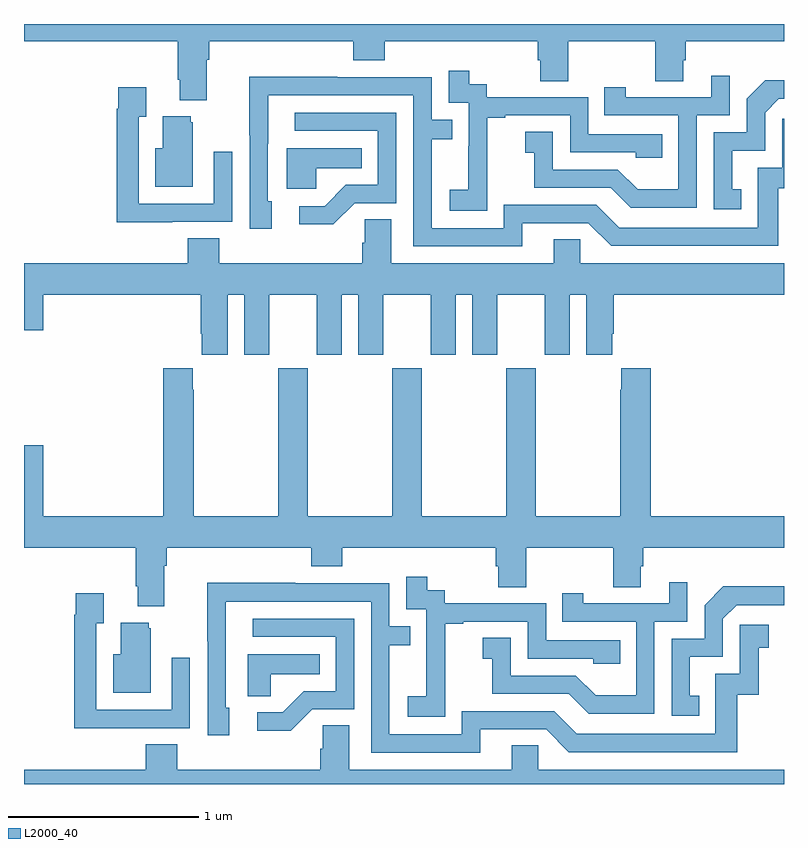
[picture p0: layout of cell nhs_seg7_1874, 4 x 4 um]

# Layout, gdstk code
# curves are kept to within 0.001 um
import gdstk
lib = gdstk.Library(unit=1e-6, precision=1e-09)
def P(c, l, *ps):  # polygons
    for p in ps: c.add(gdstk.Polygon(p, *l))
L2000_40 = (2000, 40)

nhs_seg7_1874 = lib.new_cell('nhs_seg7_1874')
P(nhs_seg7_1874, L2000_40, [(237.961,1041.812),(237.974,1041.812),(237.974,1041.908),(238.733,1041.908),(238.733,1041.809),(238.898,1041.809),(238.898,1041.908),(239.705,1041.908),(239.705,1041.81),(239.717,1041.81),(239.717,1041.7),(239.865,1041.7),(239.865,1041.908),(240.322,1041.908),(240.322,1041.7),(240.469,1041.7),(240.469,1041.81),(240.482,1041.81),(240.482,1041.908),(241,1041.908),(241,1042),(237,1042),(237,1041.908),(237.809,1041.908),(237.809,1041.706),(237.821,1041.706),(237.821,1041.599),(237.961,1041.599)],
  [(239.439,1041.223),(239.438,1041.223),(239.438,1041.507),(239.533,1041.507),(239.533,1041.519),(239.874,1041.519),(239.874,1041.324),(240.219,1041.324),(240.219,1041.297),(240.359,1041.297),(240.359,1041.42),(239.97,1041.42),(239.97,1041.615),(239.436,1041.615),(239.436,1041.684),(239.344,1041.684),(239.344,1041.754),(239.235,1041.754),(239.235,1041.585),(239.34,1041.585),(239.34,1041.356),(239.339,1041.356),(239.339,1041.127),(239.241,1041.127),(239.241,1041.017),(239.439,1041.017)],
  [(240.54,1041.519),(240.714,1041.519),(240.714,1041.727),(240.617,1041.727),(240.617,1041.615),(240.166,1041.615),(240.166,1041.667),(240.055,1041.667),(240.055,1041.519),(240.444,1041.519),(240.444,1041.13),(240.23,1041.13),(240.126,1041.234),(239.784,1041.234),(239.784,1041.433),(239.637,1041.433),(239.637,1041.323),(239.686,1041.323),(239.686,1041.138),(240.089,1041.138),(240.194,1041.033),(240.54,1041.033)],
  [(239.623,1040.952),(239.97,1040.952),(240.09,1040.832),(240.97,1040.832),(240.97,1041.135),(241,1041.135),(241,1041.502),(240.99,1041.502),(240.99,1041.243),(240.861,1041.243),(240.861,1040.928),(240.132,1040.928),(240.012,1041.048),(239.526,1041.048),(239.526,1040.925),(239.145,1040.925),(239.145,1041.394),(239.255,1041.394),(239.255,1041.495),(239.145,1041.495),(239.145,1041.72),(238.649,1041.72),(238.649,1041.722),(238.186,1041.722),(238.186,1041.415),(238.188,1041.415),(238.188,1040.922),(238.303,1040.922),(238.303,1041.066),(238.284,1041.066),(238.285,1041.624),(239.049,1041.624),(239.049,1040.829),(239.623,1040.829)],
  [(240.776,1041.129),(240.727,1041.129),(240.727,1041.333),(240.9,1041.333),(240.9,1041.534),(240.972,1041.606),(241,1041.606),(241,1041.704),(240.902,1041.704),(240.804,1041.606),(240.804,1041.429),(240.63,1041.429),(240.63,1041.024),(240.776,1041.024)],
  [(237.779,1040.958),(238.095,1040.958),(238.095,1041.328),(237.999,1041.328),(237.999,1041.054),(237.603,1041.054),(237.603,1041.511),(237.643,1041.511),(237.643,1041.667),(237.495,1041.667),(237.495,1041.554),(237.487,1041.554),(237.487,1040.957),(237.779,1040.957)],
  [(238.74,1041.057),(238.959,1041.057),(238.959,1041.534),(238.425,1041.534),(238.425,1041.438),(238.863,1041.438),(238.863,1041.153),(238.694,1041.153),(238.583,1041.042),(238.449,1041.042),(238.449,1040.945),(238.627,1040.945)],
  [(237.889,1041.483),(237.878,1041.483),(237.878,1041.514),(237.731,1041.514),(237.731,1041.346),(237.692,1041.346),(237.692,1041.143),(237.889,1041.143)],
  [(238.539,1041.242),(238.778,1041.242),(238.778,1041.346),(238.382,1041.346),(238.382,1041.134),(238.539,1041.134)],
  [(238.072,1040.576),(238.16,1040.576),(238.16,1040.259),(238.291,1040.259),(238.291,1040.576),(238.541,1040.576),(238.541,1040.259),(238.672,1040.259),(238.672,1040.576),(238.76,1040.576),(238.76,1040.259),(238.891,1040.259),(238.891,1040.576),(239.141,1040.576),(239.141,1040.259),(239.272,1040.259),(239.272,1040.576),(239.36,1040.576),(239.36,1040.259),(239.491,1040.259),(239.491,1040.576),(239.741,1040.576),(239.741,1040.259),(239.872,1040.259),(239.872,1040.576),(239.96,1040.576),(239.96,1040.259),(240.097,1040.259),(240.097,1040.371),(240.104,1040.371),(240.104,1040.576),(241,1040.576),(241,1040.74),(239.928,1040.74),(239.928,1040.867),(239.789,1040.867),(239.789,1040.74),(238.933,1040.74),(238.933,1040.972),(238.794,1040.972),(238.794,1040.849),(238.781,1040.849),(238.781,1040.74),(238.028,1040.74),(238.028,1040.873),(237.863,1040.873),(237.863,1040.74),(237,1040.74),(237,1040.388),(237.1,1040.388),(237.1,1040.576),(237.929,1040.576),(237.929,1040.371),(237.935,1040.371),(237.935,1040.259),(238.072,1040.259)],
  [(239.094,1040.188),(238.939,1040.188),(238.939,1039.408),(238.494,1039.408),(238.494,1040.188),(238.339,1040.188),(238.339,1039.408),(237.894,1039.408),(237.894,1040.075),(237.889,1040.075),(237.889,1040.188),(237.734,1040.188),(237.734,1039.408),(237.1,1039.408),(237.1,1039.783),(237,1039.783),(237,1039.244),(237.587,1039.244),(237.587,1039.042),(237.599,1039.042),(237.599,1038.935),(237.739,1038.935),(237.739,1039.148),(237.752,1039.148),(237.752,1039.244),(238.511,1039.244),(238.511,1039.145),(238.676,1039.145),(238.676,1039.244),(239.483,1039.244),(239.483,1039.146),(239.495,1039.146),(239.495,1039.036),(239.643,1039.036),(239.643,1039.244),(240.1,1039.244),(240.1,1039.036),(240.247,1039.036),(240.247,1039.146),(240.26,1039.146),(240.26,1039.244),(241,1039.244),(241,1039.408),(240.299,1039.408),(240.299,1040.188),(240.143,1040.188),(240.143,1040.075),(240.139,1040.075),(240.139,1039.408),(239.694,1039.408),(239.694,1040.188),(239.539,1040.188),(239.539,1039.408),(239.094,1039.408)],
  [(239.217,1038.559),(239.216,1038.559),(239.216,1038.843),(239.311,1038.843),(239.311,1038.855),(239.652,1038.855),(239.652,1038.66),(239.997,1038.66),(239.997,1038.633),(240.137,1038.633),(240.137,1038.756),(239.748,1038.756),(239.748,1038.951),(239.214,1038.951),(239.214,1039.02),(239.122,1039.02),(239.122,1039.09),(239.013,1039.09),(239.013,1038.921),(239.118,1038.921),(239.118,1038.692),(239.117,1038.692),(239.117,1038.463),(239.019,1038.463),(239.019,1038.353),(239.217,1038.353)],
  [(240.318,1038.855),(240.492,1038.855),(240.492,1039.063),(240.395,1039.063),(240.395,1038.951),(239.944,1038.951),(239.944,1039.003),(239.833,1039.003),(239.833,1038.855),(240.222,1038.855),(240.222,1038.466),(240.008,1038.466),(239.904,1038.57),(239.562,1038.57),(239.562,1038.769),(239.415,1038.769),(239.415,1038.659),(239.464,1038.659),(239.464,1038.474),(239.867,1038.474),(239.972,1038.369),(240.318,1038.369)],
  [(239.401,1038.288),(239.748,1038.288),(239.868,1038.168),(240.755,1038.168),(240.755,1038.471),(240.866,1038.471),(240.866,1038.717),(240.919,1038.717),(240.919,1038.838),(240.768,1038.838),(240.768,1038.579),(240.639,1038.579),(240.639,1038.264),(239.91,1038.264),(239.79,1038.384),(239.304,1038.384),(239.304,1038.261),(238.923,1038.261),(238.923,1038.73),(239.033,1038.73),(239.033,1038.831),(238.923,1038.831),(238.923,1039.056),(238.427,1039.056),(238.427,1039.058),(237.964,1039.058),(237.964,1038.751),(237.966,1038.751),(237.966,1038.257),(238.081,1038.257),(238.081,1038.402),(238.062,1038.402),(238.062,1038.96),(238.827,1038.96),(238.827,1038.165),(239.401,1038.165)],
  [(240.554,1038.465),(240.505,1038.465),(240.505,1038.669),(240.678,1038.669),(240.678,1038.87),(240.75,1038.942),(241,1038.942),(241,1039.04),(240.68,1039.04),(240.582,1038.942),(240.582,1038.765),(240.408,1038.765),(240.408,1038.36),(240.554,1038.36)],
  [(237.557,1038.294),(237.873,1038.294),(237.873,1038.664),(237.777,1038.664),(237.777,1038.39),(237.381,1038.39),(237.381,1038.847),(237.421,1038.847),(237.421,1039.003),(237.273,1039.003),(237.273,1038.89),(237.265,1038.89),(237.265,1038.293),(237.557,1038.293)],
  [(238.518,1038.393),(238.737,1038.393),(238.737,1038.87),(238.203,1038.87),(238.203,1038.774),(238.641,1038.774),(238.641,1038.489),(238.472,1038.489),(238.361,1038.378),(238.227,1038.378),(238.227,1038.281),(238.405,1038.281)],
  [(237.667,1038.819),(237.656,1038.819),(237.656,1038.85),(237.509,1038.85),(237.509,1038.682),(237.47,1038.682),(237.47,1038.479),(237.667,1038.479)],
  [(238.299,1038.578),(238.556,1038.578),(238.556,1038.682),(238.178,1038.682),(238.178,1038.463),(238.299,1038.463)],
  [(241,1038.076),(239.706,1038.076),(239.706,1038.203),(239.567,1038.203),(239.567,1038.076),(238.711,1038.076),(238.711,1038.308),(238.572,1038.308),(238.572,1038.185),(238.559,1038.185),(238.559,1038.076),(237.806,1038.076),(237.806,1038.209),(237.641,1038.209),(237.641,1038.076),(237,1038.076),(237,1038),(241,1038)])

lib.write_gds('nhs_seg7_1874.gds')
